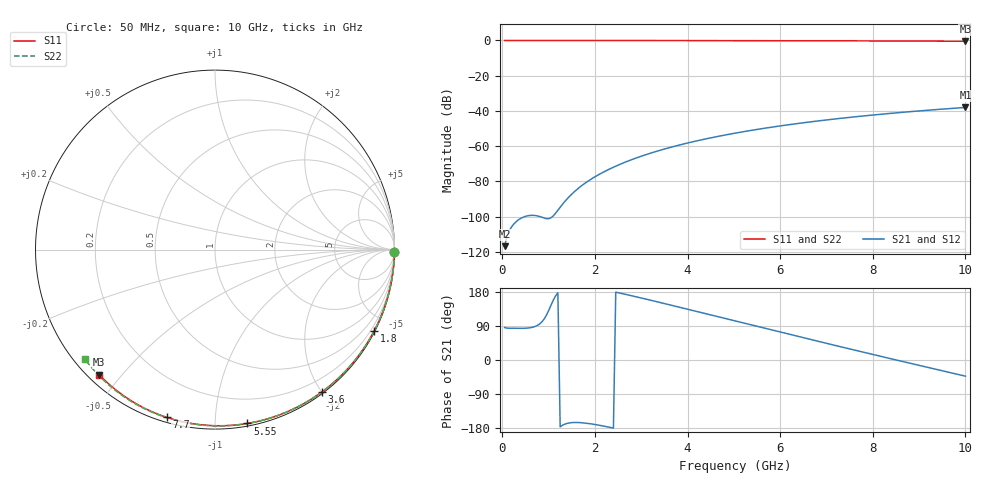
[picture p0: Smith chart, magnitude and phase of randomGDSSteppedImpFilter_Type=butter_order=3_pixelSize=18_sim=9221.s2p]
! freq	dB(S11)	phase(S11)	dB(S12)	phase(S12)
!  dB(S21)	phase(S21)	dB(S22)	phase(S22)
!S-par simulation data
#  GHz  S  DB  R 50
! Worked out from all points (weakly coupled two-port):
!   200 points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, 50 MHz to 10 GHz, reference 50 ohm
!   highest |S21| = -38.02 dB at 10 GHz (marker M1); lowest = -116.7 dB at 50 MHz (marker M2)
!   lowest |S11| = -0.4 dB at 10 GHz (marker M3), VSWR 38.86, Z = 1.53 - j21.9 ohm
!   |S11| at or under -10 dB: nowhere
!   |S22| runs from -0.5 to 0.0 dB; largest |S21 - S12| = 0
!   S11 on the Smith chart (normalised r, x): 50 MHz: open; 1.8 GHz: 0.04, -4.13; 3.6 GHz: 0.02, -2.00; 5.55 GHz: 0.02, -1.20; 7.7 GHz: 0.02, -0.75; 10 GHz: 0.03, -0.44
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0.05  -0.00 -0.8  -116.73 85.7  -116.73 85.7  -0.00 -0.8
0.45  -0.01 -6.9  -100.29 83.5  -100.29 83.5  -0.01 -7.3
0.9  -0.02 -13.7  -100.75 107.5  -100.75 107.5  -0.02 -14.5
1.75  -0.03 -26.5  -81.70 -166.0  -81.70 -166.0  -0.04 -28.0
1.8  -0.03 -27.2  -80.76 -166.6  -80.76 -166.6  -0.04 -28.7
1.85  -0.04 -28.0  -79.86 -167.4  -79.86 -167.4  -0.04 -29.5
2  -0.04 -30.2  -77.39 -170.2  -77.39 -170.2  -0.04 -31.9
2.15  -0.04 -32.4  -75.17 -173.5  -75.17 -173.5  -0.04 -34.2
2.35  -0.05 -35.3  -72.53 -178.4  -72.53 -178.4  -0.05 -37.3
2.55  -0.05 -38.2  -70.19 176.3  -70.19 176.3  -0.05 -40.4
2.95  -0.06 -44.0  -66.15 165.1  -66.15 165.1  -0.06 -46.4
3.4  -0.07 -50.4  -62.37 152.0  -62.37 152.0  -0.07 -53.2
3.6  -0.07 -53.2  -60.88 146.0  -60.88 146.0  -0.08 -56.1
4.3  -0.09 -62.9  -56.39 125.0  -56.39 125.0  -0.09 -66.3
5.05  -0.11 -72.9  -52.49 102.3  -52.49 102.3  -0.12 -76.8
5.55  -0.13 -79.5  -50.28 87.2  -50.28 87.2  -0.14 -83.7
6.1  -0.15 -86.5  -48.12 70.7  -48.12 70.7  -0.16 -91.1
6.7  -0.18 -94.0  -46.05 52.8  -46.05 52.8  -0.19 -98.9
7.7  -0.24 -106.1  -43.10 23.4  -43.10 23.4  -0.26 -111.7
8.35  -0.29 -113.8  -41.45 4.5  -41.45 4.5  -0.31 -119.7
9.2  -0.36 -123.6  -39.56 -19.9  -39.56 -19.9  -0.38 -130.2
10  -0.45 -132.8  -38.02 -42.7  -38.02 -42.7  -0.47 -139.9
